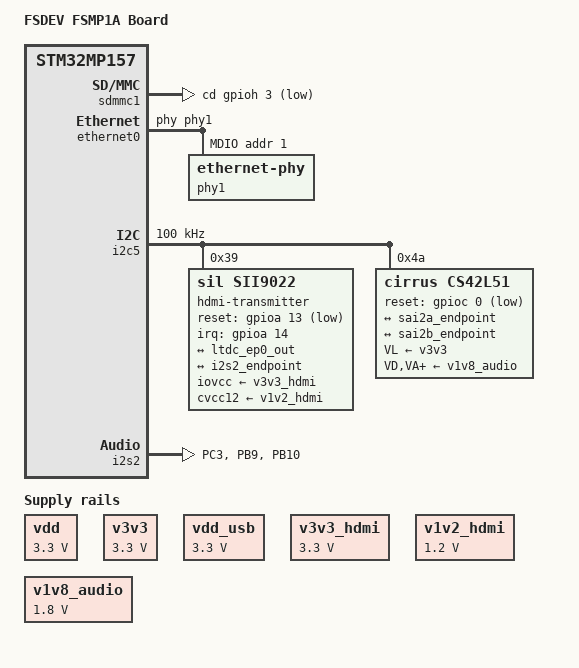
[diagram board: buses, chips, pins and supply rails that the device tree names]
// SPDX-License-Identifier: (GPL-2.0+ OR BSD-3-Clause)
/*
 * Copyright (C) STMicroelectronics 2019 - All Rights Reserved
 * Author: Alexandre Torgue <alexandre.torgue@st.com> for STMicroelectronics.
 */

/dts-v1/;

#include "stm32mp157.dtsi"
#include "stm32mp15-pinctrl.dtsi"
#include "stm32mp15xxaa-pinctrl.dtsi"
#include "stm32mp15xx-dkx.dtsi"
#include "stm32mp15-scmi.dtsi"

/ {
	model = "FSDEV FSMP1A Board";
	compatible = "fsdev,fsmp1a", "st,stm32mp157";

	aliases {
		ethernet0 = &ethernet0;
	};

	chosen {
		stdout-path = "serial0:115200n8";
	};

	reserved-memory {
		optee@de000000 {
			reg = <0xde000000 0x2000000>;
			no-map;
		};
	};

	/*
	 * IWDG1 is secure (ETZPC DECPROT_S_RW) and TF-A BL2 starts it
	 * unconditionally with a 32s timeout, so Linux must pet it through
	 * OP-TEE's SMC watchdog service or OP-TEE panics with 'Watchdog'.
	 * SMC ID matches CFG_WDT_SM_HANDLER_ID in OP-TEE's
	 * core/arch/arm/plat-stm32mp1/conf.mk.
	 */
	arm_wdt: watchdog {
		compatible = "arm,smc-wdt";
		arm,smc-id = <0xbc000000>;
		timeout-sec = <30>;
		status = "disabled";
	};

	/*
	 * Board is discrete power supplied: no STPMIC1 on I2C4. Replace the
	 * PMIC rails still referenced by stm32mp15xx-dkx.dtsi by fixed
	 * regulators carrying the same labels.
	 */
	vdd: regulator-vdd {
		compatible = "regulator-fixed";
		regulator-name = "vdd";
		regulator-min-microvolt = <3300000>;
		regulator-max-microvolt = <3300000>;
		regulator-always-on;
		regulator-boot-on;
	};

	v3v3: regulator-v3v3 {
		compatible = "regulator-fixed";
		regulator-name = "v3v3";
		regulator-min-microvolt = <3300000>;
		regulator-max-microvolt = <3300000>;
		regulator-always-on;
		regulator-boot-on;
	};

	vdd_usb: regulator-vdd-usb {
		compatible = "regulator-fixed";
		regulator-name = "vdd_usb";
		regulator-min-microvolt = <3300000>;
		regulator-max-microvolt = <3300000>;
		regulator-always-on;
		regulator-boot-on;
	};

	v3v3_hdmi: regulator-v3v3-hdmi {
		compatible = "regulator-fixed";
		regulator-name = "v3v3_hdmi";
		regulator-min-microvolt = <3300000>;
		regulator-max-microvolt = <3300000>;
		regulator-always-on;
		regulator-boot-on;
	};

	v1v2_hdmi: regulator-v1v2-hdmi {
		compatible = "regulator-fixed";
		regulator-name = "v1v2_hdmi";
		regulator-min-microvolt = <1200000>;
		regulator-max-microvolt = <1200000>;
		regulator-always-on;
		regulator-boot-on;
	};

	v1v8_audio: regulator-v1v8-audio {
		compatible = "regulator-fixed";
		regulator-name = "v1v8_audio";
		regulator-min-microvolt = <1800000>;
		regulator-max-microvolt = <1800000>;
		regulator-always-on;
		regulator-boot-on;
	};

	led {
		/delete-node/ led-blue;
		/delete-node/ led-red;

		led-0 {
			function = LED_FUNCTION_HEARTBEAT;
			color = <LED_COLOR_ID_GREEN>;
			gpios = <&gpioz 5 GPIO_ACTIVE_HIGH>;
			linux,default-trigger = "heartbeat";
			default-state = "off";
		};

		led-1 {
			function = LED_FUNCTION_SPEED_LAN;
			color = <LED_COLOR_ID_GREEN>;
			gpios = <&gpioz 6 GPIO_ACTIVE_HIGH>;
			default-state = "on";
		};

		led-2 {
			function = LED_FUNCTION_CPU;
			color = <LED_COLOR_ID_GREEN>;
			gpios = <&gpioz 7 GPIO_ACTIVE_HIGH>;
			default-state = "on";
		};
	};

	options {
		/delete-node/ u-boot;
	};
};

/delete-node/ &i2c4;
/delete-node/ &usbotg_hs;

&adc {
	status = "disabled";
};

&sdmmc1 {
	cd-gpios = <&gpioh 3 (GPIO_ACTIVE_LOW | GPIO_PULL_UP)>;
};

&ethernet0 {
	phy-handle = <&phy1>;

	mdio {
		/delete-node/ ethernet-phy@0;

		phy1: ethernet-phy@1 {
			reg = <1>;
		};
	};
};

/delete-node/ &i2c1;

&i2c5 {
	i2c-scl-rising-time-ns = <500>;
	i2c-scl-falling-time-ns = <20>;
	clock-frequency = <100000>;
	status = "okay";

	hdmi-transmitter@39 {
		compatible = "sil,sii9022";
		reg = <0x39>;
		iovcc-supply = <&v3v3_hdmi>;
		cvcc12-supply = <&v1v2_hdmi>;
		reset-gpios = <&gpioa 13 GPIO_ACTIVE_LOW>;
		interrupts = <14 IRQ_TYPE_EDGE_FALLING>;
		interrupt-parent = <&gpioa>;
		#sound-dai-cells = <0>;
		status = "okay";

		ports {
			#address-cells = <1>;
			#size-cells = <0>;

			port@0 {
				reg = <0>;

				sii9022_in: endpoint {
					remote-endpoint = <&ltdc_ep0_out>;
				};
			};

			port@3 {
				reg = <3>;

				sii9022_tx_endpoint: endpoint {
					remote-endpoint = <&i2s2_endpoint>;
				};
			};
		};
	};

	cs42l51: cs42l51@4a {
		compatible = "cirrus,cs42l51";
		reg = <0x4a>;
		#sound-dai-cells = <0>;
		VL-supply = <&v3v3>;
		VD-supply = <&v1v8_audio>;
		VA-supply = <&v1v8_audio>;
		VAHP-supply = <&v1v8_audio>;
		reset-gpios = <&gpioc 0 GPIO_ACTIVE_LOW>;
		clocks = <&sai2a>;
		clock-names = "MCLK";
		status = "okay";

		cs42l51_port: port {
			#address-cells = <1>;
			#size-cells = <0>;

			cs42l51_tx_endpoint: endpoint@0 {
				reg = <0>;
				remote-endpoint = <&sai2a_endpoint>;
				frame-master = <&cs42l51_tx_endpoint>;
				bitclock-master = <&cs42l51_tx_endpoint>;
			};

			cs42l51_rx_endpoint: endpoint@1 {
				reg = <1>;
				remote-endpoint = <&sai2b_endpoint>;
				frame-master = <&cs42l51_rx_endpoint>;
				bitclock-master = <&cs42l51_rx_endpoint>;
			};
		};
	};
};

&ltdc {
	pinctrl-names = "default", "sleep";
	pinctrl-0 = <&ltdc_pins_b>;
	pinctrl-1 = <&ltdc_sleep_pins_b>;
};

&i2s2 {
	pinctrl-names = "default", "sleep";
	pinctrl-0 = <&i2s2_pins_c>;
	pinctrl-1 = <&i2s2_sleep_pins_c>;
};

&pinctrl {
	/omit-if-no-ref/
	i2s2_pins_c: i2s2-2 {
		pins {
			pinmux = <STM32_PINMUX('C',  3, AF5)>, /* I2S2_SDO */
				 <STM32_PINMUX('B', 9, AF5)>, /* I2S2_WS */
				 <STM32_PINMUX('B', 10, AF5)>; /* I2S2_CK */
			bias-disable;
			drive-push-pull;
			slew-rate = <1>;
		};
	};

	/omit-if-no-ref/
	i2s2_sleep_pins_c: i2s2-sleep-2 {
		pins {
			pinmux = <STM32_PINMUX('C', 3, ANALOG)>, /* I2S2_SDO */
				 <STM32_PINMUX('B', 9, ANALOG)>, /* I2S2_WS */
				 <STM32_PINMUX('B', 10, ANALOG)>; /* I2S2_CK */
		};
	};
};

&cpu0 {
	clocks = <&scmi_clk CK_SCMI_MPU>;
};

&cpu1 {
	clocks = <&scmi_clk CK_SCMI_MPU>;
};

&dsi {
	clocks = <&rcc DSI>, <&scmi_clk CK_SCMI_HSE>, <&rcc DSI_PX>;
};

&gpioz {
	clocks = <&scmi_clk CK_SCMI_GPIOZ>;
};

&hash1 {
	clocks = <&scmi_clk CK_SCMI_HASH1>;
	resets = <&scmi_reset RST_SCMI_HASH1>;
};

&iwdg2 {
	clocks = <&rcc IWDG2>, <&scmi_clk CK_SCMI_LSI>;
};

&mdma1 {
	resets = <&scmi_reset RST_SCMI_MDMA>;
};

&m4_rproc {
	/delete-property/ st,syscfg-holdboot;
	resets = <&scmi_reset RST_SCMI_MCU>,
		 <&scmi_reset RST_SCMI_MCU_HOLD_BOOT>;
	reset-names = "mcu_rst", "hold_boot";
};

&optee {
	interrupt-parent = <&intc>;
	interrupts = <GIC_PPI 15 (GIC_CPU_MASK_SIMPLE(2) | IRQ_TYPE_LEVEL_LOW)>;
};

&rcc {
	compatible = "st,stm32mp1-rcc-secure", "syscon";
	clock-names = "hse", "hsi", "csi", "lse", "lsi";
	clocks = <&scmi_clk CK_SCMI_HSE>,
		 <&scmi_clk CK_SCMI_HSI>,
		 <&scmi_clk CK_SCMI_CSI>,
		 <&scmi_clk CK_SCMI_LSE>,
		 <&scmi_clk CK_SCMI_LSI>;
};

&rng1 {
	clocks = <&scmi_clk CK_SCMI_RNG1>;
	resets = <&scmi_reset RST_SCMI_RNG1>;
};

&rtc {
	clocks = <&scmi_clk CK_SCMI_RTCAPB>, <&scmi_clk CK_SCMI_RTC>;
};
